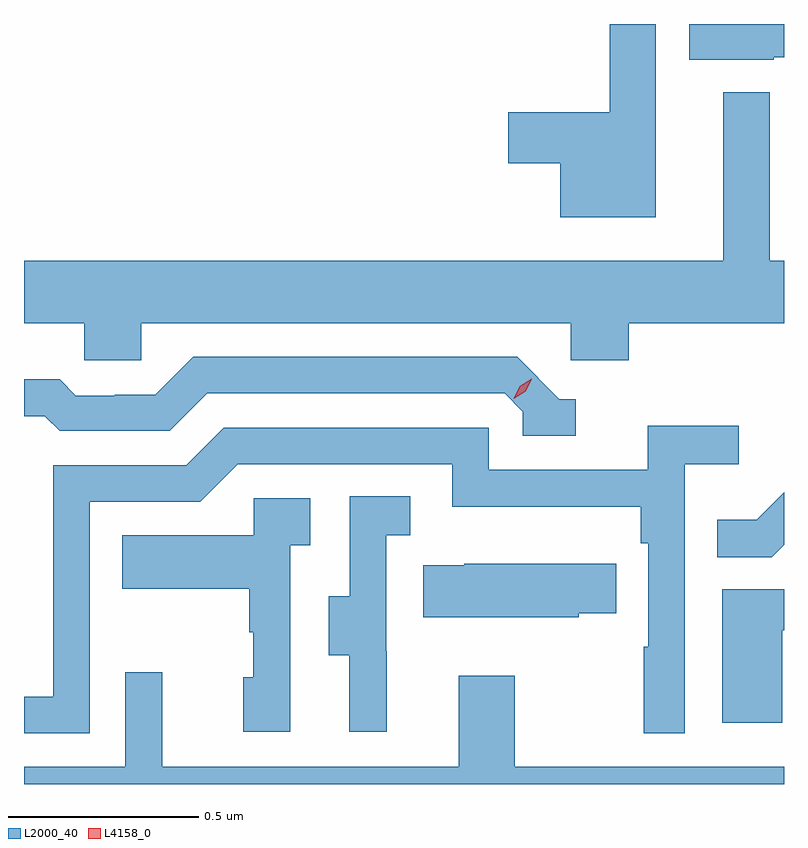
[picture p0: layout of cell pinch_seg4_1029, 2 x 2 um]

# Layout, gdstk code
import gdstk
lib = gdstk.Library(unit=1e-6, precision=1e-09)
def P(c, l, *ps):  # polygons
    for p in ps: c.add(gdstk.Polygon(p, *l))
L2000_40 = (2000, 40)
L4158_0 = (4158, 0)

pinch_seg4_1029 = lib.new_cell('pinch_seg4_1029')
P(pinch_seg4_1029, L2000_40, [(792.408,776.207),(792.435,776.207),(792.435,776.295),(792.185,776.295),(792.185,776.201),(792.408,776.201)],
  [(792.097,776.295),(791.976,776.295),(791.976,776.063),(791.709,776.063),(791.709,775.928),(791.846,775.928),(791.846,775.787),(792.097,775.787)],
  [(790.435,775.508),(790.593,775.508),(790.593,775.41),(790.743,775.41),(790.743,775.508),(791.874,775.508),(791.874,775.41),(792.026,775.41),(792.026,775.508),(792.435,775.508),(792.435,775.672),(792.397,775.672),(792.397,776.116),(792.275,776.116),(792.275,775.672),(790.435,775.672)],
  [(791.887,775.308),(791.844,775.308),(791.733,775.419),(790.88,775.419),(790.781,775.32),(790.674,775.32),(790.674,775.317),(790.571,775.317),(790.529,775.36),(790.435,775.36),(790.435,775.263),(790.49,775.263),(790.529,775.224),(790.818,775.224),(790.917,775.323),(791.7,775.323),(791.748,775.275),(791.748,775.212),(791.887,775.212)],
  [(790.608,775.038),(790.899,775.038),(790.998,775.137),(791.562,775.137),(791.562,775.025),(792.058,775.025),(792.058,774.929),(792.078,774.929),(792.078,774.656),(792.066,774.656),(792.066,774.429),(792.174,774.429),(792.174,775.136),(792.316,775.136),(792.316,775.238),(792.077,775.238),(792.077,775.122),(791.658,775.122),(791.658,775.233),(790.961,775.233),(790.862,775.134),(790.512,775.134),(790.512,774.525),(790.435,774.525),(790.435,774.429),(790.608,774.429)],
  [(792.435,774.924),(792.435,775.063),(792.363,774.991),(792.259,774.991),(792.259,774.892),(792.403,774.892)],
  [(791.39,774.645),(791.388,774.645),(791.388,774.949),(791.452,774.949),(791.452,775.052),(791.292,775.052),(791.292,774.789),(791.237,774.789),(791.237,774.634),(791.291,774.634),(791.291,774.432),(791.39,774.432)],
  [(791.136,774.923),(791.188,774.923),(791.188,775.047),(791.04,775.047),(791.04,774.949),(790.693,774.949),(790.693,774.809),(791.028,774.809),(791.028,774.695),(791.038,774.695),(791.038,774.576),(791.012,774.576),(791.012,774.432),(791.136,774.432)],
  [(791.895,774.745),(791.993,774.745),(791.993,774.874),(791.593,774.874),(791.593,774.871),(791.485,774.871),(791.485,774.734),(791.895,774.734)],
  [(792.43,774.699),(792.435,774.699),(792.435,774.807),(792.272,774.807),(792.272,774.456),(792.43,774.456)],
  [(792.435,774.34),(791.727,774.34),(791.727,774.58),(791.579,774.58),(791.579,774.34),(790.799,774.34),(790.799,774.589),(790.701,774.589),(790.701,774.34),(790.435,774.34),(790.435,774.295),(792.435,774.295)])
P(pinch_seg4_1029, L4158_0, [(791.724,775.309),(791.724,775.309),(791.74,775.342),(791.771,775.361),(791.771,775.361),(791.771,775.361),(791.755,775.328),(791.724,775.309)])

lib.write_gds('pinch_seg4_1029.gds')
